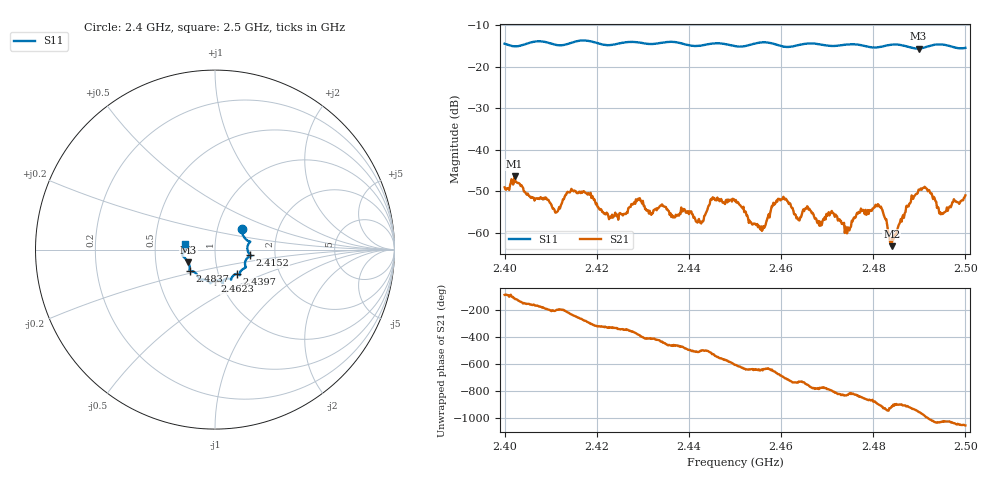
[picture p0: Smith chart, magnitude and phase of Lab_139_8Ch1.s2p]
# Hz S RI R 50
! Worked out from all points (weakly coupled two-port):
!   601 points, 2.4 GHz to 2.5 GHz, reference 50 ohm
!   highest |S21| = -46.39 dB at 2.4022 GHz (marker M1); lowest = -63.2 dB at 2.484 GHz (marker M2)
!   lowest |S11| = -15.7 dB at 2.4898 GHz (marker M3), VSWR 1.39, Z = 36.7 - j5.34 ohm
!   |S11| at or under -10 dB: start of sweep to end of sweep
!   S12 and S22 are empty: the file has one direction only
!   S11 on the Smith chart (normalised r, x): 2.4 GHz: 1.31, +0.31; 2.4152 GHz: 1.48, -0.09; 2.4397 GHz: 1.22, -0.34; 2.4623 GHz: 0.94, -0.34; 2.4837 GHz: 0.74, -0.18; 2.5 GHz: 0.72, +0.05
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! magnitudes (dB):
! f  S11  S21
! 2.4 GHz  -14.5  -49.1
! 2.4022 GHz  -15.2  -46.4
! 2.4112 GHz  -14.8  -55.1
! 2.4152 GHz  -14.1  -49.8
! 2.4167 GHz  -13.7  -50.1
! 2.423 GHz  -14.8  -56.1
! 2.4333 GHz  -14.4  -54.1
! 2.4397 GHz  -14.8  -54.8
! 2.4427 GHz  -15.0  -57.7
! 2.45 GHz  -15.1  -52.4
! 2.4555 GHz  -14.2  -59.2
! 2.4593 GHz  -14.9  -51.8
! 2.4623 GHz  -15.2  -54.0
! 2.4667 GHz  -14.4  -55.3
! 2.4743 GHz  -14.7  -60.1
! 2.481 GHz  -15.4  -53.1
! 2.4833 GHz  -14.8  -60.2
! 2.4837 GHz  -14.8  -62.3
! 2.484 GHz  -14.7  -63.2
! 2.4898 GHz  -15.7  -49.6
! 2.4948 GHz  -14.7  -55.2
! 2.5 GHz  -15.5  -51.0
